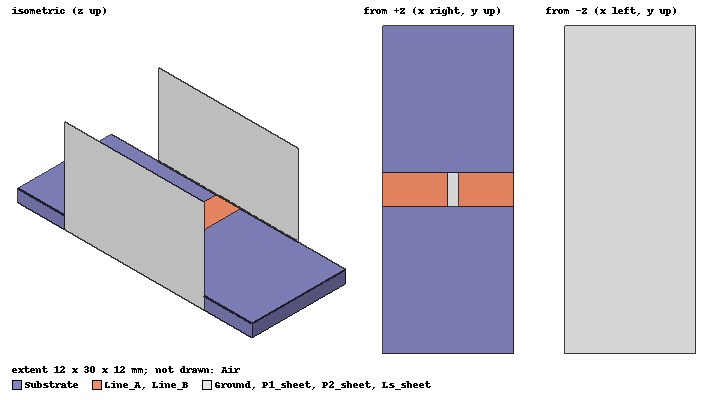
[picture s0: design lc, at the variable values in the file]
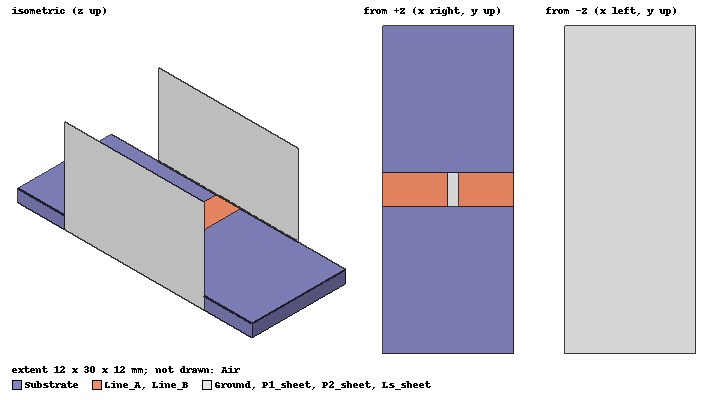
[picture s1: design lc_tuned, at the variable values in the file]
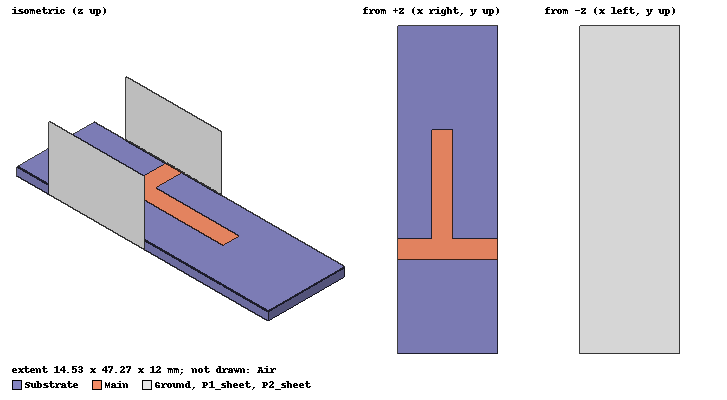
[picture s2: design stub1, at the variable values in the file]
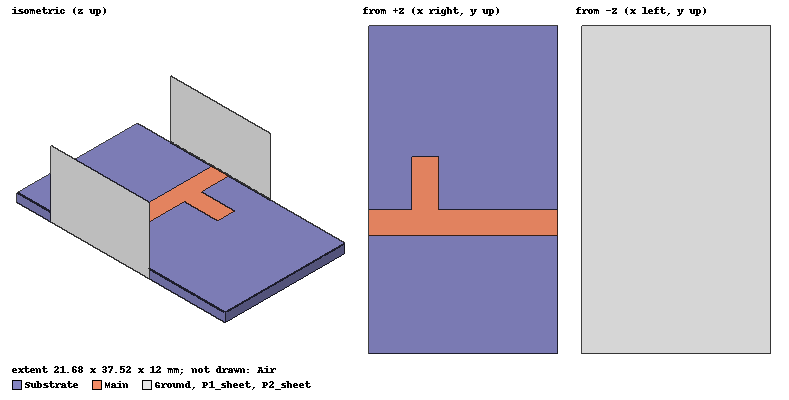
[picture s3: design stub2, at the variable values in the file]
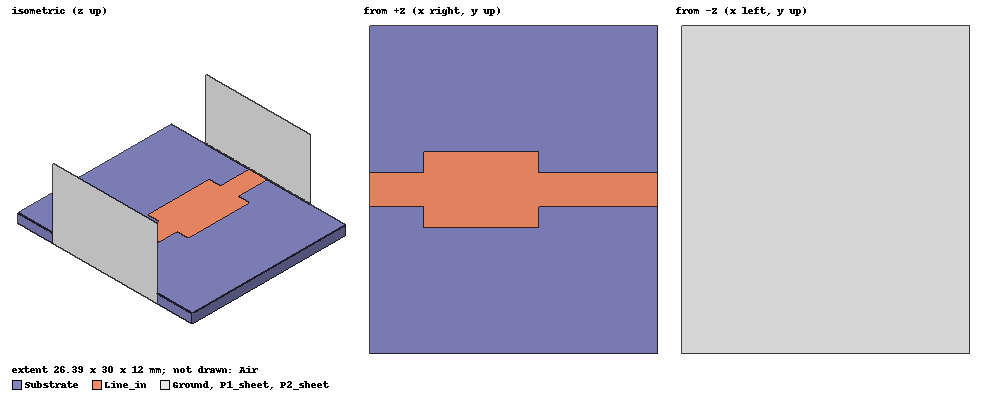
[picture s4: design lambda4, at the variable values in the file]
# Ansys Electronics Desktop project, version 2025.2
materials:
  vacuum: permittivity=1
  FR4_epoxy_44: permittivity=4.4 permeability=1 dielectric_loss_tangent=0.02
  copper: permeability=0.999991 conductivity=58000000

design lc (HFSS, HFSS Modal Network, model units mm)
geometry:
  Substrate [FR4_epoxy_44] = box(corner=(0mm, -15mm, 0mm), size=(12mm, 30mm, 1.6mm))
  Air [vacuum] = box(corner=(0mm, -15mm, 0mm), size=(12mm, 30mm, 16.6mm))
  Line_A [copper] = box(corner=(0mm, -1.5415mm, 1.6mm), size=(6mm, 3.083mm, 0.035mm))
  Line_B [copper] = box(corner=(7mm, -1.5415mm, 1.6mm), size=(5mm, 3.083mm, 0.035mm))
  Ground = rectangle(corner=(0mm, -15mm, 0mm), x_size=12mm, y_size=30mm)
  Ls_sheet = rectangle(corner=(6mm, -1.5415mm, 1.6175mm), x_size=1mm, y_size=3.083mm)
  Cp_sheet = rectangle(corner=(5mm, -0.5mm, 0mm), y_size=1mm, z_size=1.6mm)
  P1_sheet = rectangle(corner=(0mm, -9mm, 0mm), y_size=18mm, z_size=12mm)
  P2_sheet = rectangle(corner=(12mm, -9mm, 0mm), y_size=18mm, z_size=12mm)
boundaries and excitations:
  PEC_ground: Perfect E Objects=Ground
  Ls: Lumped RLC Objects=Ls_sheet CurrentLine{(6, 0, 1.6175) -> (7, 0, 1.6175)} RLC_Type=Parallel Inductance=2.933nH
  Cp: Lumped RLC Objects=Cp_sheet CurrentLine{(5, 0, 0) -> (5, 0, 1.6)} RLC_Type=Parallel Capacitance=0.743pF
  Rad: Radiation Faces=Air.face(+z, -y, +y)
  P1: Wave Port Objects=P1_sheet WavePortType=Modal NumModes=1 DeembedDist=5mm Modes{Mode1{IntLine{(0, 0, 0) -> (0, 0, 1.6)} CharImp=Zpi RenormImp=50ohm}}
  P2: Wave Port Objects=P2_sheet WavePortType=Modal NumModes=1 DeembedDist=5mm Modes{Mode1{IntLine{(12, 0, 0) -> (12, 0, 1.6)} CharImp=Zpi RenormImp="30ohm - 40i ohm"}}
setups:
  Setup1: HfssDriven Frequency=3.5GHz MaxDeltaS=0.01 MaximumPasses=15 MinimumPasses=1 MinimumConvergedPasses=2 PercentRefinement=30 BasisOrder=1 PortAccuracy=2 DrivenSolverType="Direct Solver"
    sweep Sweep1: 2GHz to 5GHz, 301 points; Type=Interpolating InterpTolerance=0.5 InterpMaxSolns=250 InterpUsePortImped=false PassivityErrorTolerance=0.0001
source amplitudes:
  P1:1: 1W 0deg
  P2:1: 0W 0deg
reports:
  S_dB_lc: dB(S(1,1)), dB(S(2,1)), dB(S(2,2)) vs Freq on Setup1 : Sweep1
  S11_Smith_lc: S(1,1) on Setup1 : Sweep1 [Freq=all]

design lc_tuned (HFSS, HFSS Modal Network, model units mm)
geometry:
  Substrate [FR4_epoxy_44] = box(corner=(0mm, -15mm, 0mm), size=(12mm, 30mm, 1.6mm))
  Air [vacuum] = box(corner=(0mm, -15mm, 0mm), size=(12mm, 30mm, 16.6mm))
  Line_A [copper] = box(corner=(0mm, -1.5415mm, 1.6mm), size=(6mm, 3.083mm, 0.035mm))
  Line_B [copper] = box(corner=(7mm, -1.5415mm, 1.6mm), size=(5mm, 3.083mm, 0.035mm))
  Ground = rectangle(corner=(0mm, -15mm, 0mm), x_size=12mm, y_size=30mm)
  Ls_sheet = rectangle(corner=(6mm, -1.5415mm, 1.6175mm), x_size=1mm, y_size=3.083mm)
  Cp_sheet = rectangle(corner=(5mm, -0.5mm, 0mm), y_size=1mm, z_size=1.6mm)
  P1_sheet = rectangle(corner=(0mm, -9mm, 0mm), y_size=18mm, z_size=12mm)
  P2_sheet = rectangle(corner=(12mm, -9mm, 0mm), y_size=18mm, z_size=12mm)
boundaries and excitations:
  PEC_ground: Perfect E Objects=Ground
  Ls: Lumped RLC Objects=Ls_sheet CurrentLine{(6, 0, 1.6175) -> (7, 0, 1.6175)} RLC_Type=Parallel Inductance=2.115nH
  Cp: Lumped RLC Objects=Cp_sheet CurrentLine{(5, 0, 0) -> (5, 0, 1.6)} RLC_Type=Parallel Capacitance=0.581pF
  Rad: Radiation Faces=Air.face(+z, -y, +y)
  P1: Wave Port Objects=P1_sheet WavePortType=Modal NumModes=1 DeembedDist=5mm Modes{Mode1{IntLine{(0, 0, 0) -> (0, 0, 1.6)} CharImp=Zpi RenormImp=50ohm}}
  P2: Wave Port Objects=P2_sheet WavePortType=Modal NumModes=1 DeembedDist=5mm Modes{Mode1{IntLine{(12, 0, 0) -> (12, 0, 1.6)} CharImp=Zpi RenormImp="30ohm - 40i ohm"}}
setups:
  Setup1: HfssDriven Frequency=3.5GHz MaxDeltaS=0.01 MaximumPasses=15 MinimumPasses=1 MinimumConvergedPasses=2 PercentRefinement=30 BasisOrder=1 PortAccuracy=2 DrivenSolverType="Direct Solver"
    sweep Sweep1: 2GHz to 5GHz, 301 points; Type=Interpolating InterpTolerance=0.5 InterpMaxSolns=250 InterpUsePortImped=false PassivityErrorTolerance=0.0001
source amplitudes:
  P1:1: 1W 0deg
  P2:1: 0W 0deg
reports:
  S_dB_lc_tuned: dB(S(1,1)), dB(S(2,1)), dB(S(2,2)) vs Freq on Setup1 : Sweep1
  S11_Smith_lc_tuned: S(1,1) on Setup1 : Sweep1 [Freq=all]

design stub1 (HFSS, HFSS Modal Network, model units mm)
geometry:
  Substrate [FR4_epoxy_44] = box(corner=(0mm, -15mm, 0mm), size=(14.534mm, 47.267mm, 1.6mm))
  Air [vacuum] = box(corner=(0mm, -15mm, 0mm), size=(14.534mm, 47.267mm, 16.6mm))
  Main [copper] = box(corner=(0mm, -1.517mm, 1.6mm), size=(14.534mm, 3.034mm, 0.035mm))
  Stub_open = box(corner=(5mm, 1.517mm, 1.6mm), size=(3.034mm, 15.75mm, 0.035mm))
  Main.unite(Stub_open)
  Ground = rectangle(corner=(0mm, -15mm, 0mm), x_size=14.534mm, y_size=47.267mm)
  P1_sheet = rectangle(corner=(0mm, -9mm, 0mm), y_size=18mm, z_size=12mm)
  P2_sheet = rectangle(corner=(14.534mm, -9mm, 0mm), y_size=18mm, z_size=12mm)
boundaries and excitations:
  PEC_ground: Perfect E Objects=Ground
  Rad: Radiation Faces=Air.face(+z, -y, +y)
  P1: Wave Port Objects=P1_sheet WavePortType=Modal NumModes=1 DeembedDist=5mm Modes{Mode1{IntLine{(0, 0, 0) -> (0, 0, 1.6)} CharImp=Zpi RenormImp=50ohm}}
  P2: Wave Port Objects=P2_sheet WavePortType=Modal NumModes=1 DeembedDist=5mm Modes{Mode1{IntLine{(14.534, 0, 0) -> (14.534, 0, 1.6)} CharImp=Zpi RenormImp="30ohm - 40i ohm"}}
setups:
  Setup1: HfssDriven Frequency=3.5GHz MaxDeltaS=0.01 MaximumPasses=15 MinimumPasses=1 MinimumConvergedPasses=2 PercentRefinement=30 BasisOrder=1 PortAccuracy=2 DrivenSolverType="Direct Solver"
    sweep Sweep1: 2GHz to 5GHz, 301 points; Type=Interpolating InterpTolerance=0.5 InterpMaxSolns=250 InterpUsePortImped=false PassivityErrorTolerance=0.0001
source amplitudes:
  P1:1: 1W 0deg
  P2:1: 0W 0deg
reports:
  S_dB_stub1: dB(S(1,1)), dB(S(2,1)), dB(S(2,2)) vs Freq on Setup1 : Sweep1
  S11_Smith_stub1: S(1,1) on Setup1 : Sweep1 [Freq=all]

design stub2 (HFSS, HFSS Modal Network, model units mm)
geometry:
  Substrate [FR4_epoxy_44] = box(corner=(0mm, -15mm, 0mm), size=(21.684mm, 37.517mm, 1.6mm))
  Air [vacuum] = box(corner=(0mm, -15mm, 0mm), size=(21.684mm, 37.517mm, 16.6mm))
  Main [copper] = box(corner=(0mm, -1.517mm, 1.6mm), size=(21.684mm, 3.034mm, 0.035mm))
  Stub_open = box(corner=(5mm, 1.517mm, 1.6mm), size=(3.034mm, 6mm, 0.035mm))
  Main.unite(Stub_open)
  Ground = rectangle(corner=(0mm, -15mm, 0mm), x_size=21.684mm, y_size=37.517mm)
  P1_sheet = rectangle(corner=(0mm, -9mm, 0mm), y_size=18mm, z_size=12mm)
  P2_sheet = rectangle(corner=(21.684mm, -9mm, 0mm), y_size=18mm, z_size=12mm)
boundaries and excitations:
  PEC_ground: Perfect E Objects=Ground
  Rad: Radiation Faces=Air.face(+z, -y, +y)
  P1: Wave Port Objects=P1_sheet WavePortType=Modal NumModes=1 DeembedDist=5mm Modes{Mode1{IntLine{(0, 0, 0) -> (0, 0, 1.6)} CharImp=Zpi RenormImp=50ohm}}
  P2: Wave Port Objects=P2_sheet WavePortType=Modal NumModes=1 DeembedDist=5mm Modes{Mode1{IntLine{(21.684, 0, 0) -> (21.684, 0, 1.6)} CharImp=Zpi RenormImp="30ohm - 40i ohm"}}
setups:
  Setup1: HfssDriven Frequency=3.5GHz MaxDeltaS=0.01 MaximumPasses=15 MinimumPasses=1 MinimumConvergedPasses=2 PercentRefinement=30 BasisOrder=1 PortAccuracy=2 DrivenSolverType="Direct Solver"
    sweep Sweep1: 2GHz to 5GHz, 301 points; Type=Interpolating InterpTolerance=0.5 InterpMaxSolns=250 InterpUsePortImped=false PassivityErrorTolerance=0.0001
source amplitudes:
  P1:1: 1W 0deg
  P2:1: 0W 0deg
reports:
  S_dB_stub2: dB(S(1,1)), dB(S(2,1)), dB(S(2,2)) vs Freq on Setup1 : Sweep1
  S11_Smith_stub2: S(1,1) on Setup1 : Sweep1 [Freq=all]

design lambda4 (HFSS, HFSS Modal Network, model units mm)
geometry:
  Substrate [FR4_epoxy_44] = box(corner=(0mm, -15mm, 0mm), size=(26.385mm, 30mm, 1.6mm))
  Air [vacuum] = box(corner=(0mm, -15mm, 0mm), size=(26.385mm, 30mm, 16.6mm))
  Line_in [copper] = box(corner=(0mm, -1.5415mm, 1.6mm), size=(5mm, 3.083mm, 0.035mm))
  Trans_Lt = box(corner=(5mm, -3.4735mm, 1.6mm), size=(10.52mm, 6.947mm, 0.035mm))
  Buffer_L50 = box(corner=(15.52mm, -1.5415mm, 1.6mm), size=(10.865mm, 3.083mm, 0.035mm))
  Line_in.unite(Trans_Lt, Buffer_L50)
  Ground = rectangle(corner=(0mm, -15mm, 0mm), x_size=26.385mm, y_size=30mm)
  P1_sheet = rectangle(corner=(0mm, -9mm, 0mm), y_size=18mm, z_size=12mm)
  P2_sheet = rectangle(corner=(26.385mm, -9mm, 0mm), y_size=18mm, z_size=12mm)
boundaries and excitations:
  PEC_ground: Perfect E Objects=Ground
  Rad: Radiation Faces=Air.face(+z, -y, +y)
  P1: Wave Port Objects=P1_sheet WavePortType=Modal NumModes=1 DeembedDist=5mm Modes{Mode1{IntLine{(0, 0, 0) -> (0, 0, 1.6)} CharImp=Zpi RenormImp=50ohm}}
  P2: Wave Port Objects=P2_sheet WavePortType=Modal NumModes=1 DeembedDist=5mm Modes{Mode1{IntLine{(26.385, 0, 0) -> (26.385, 0, 1.6)} CharImp=Zpi RenormImp="30ohm - 40i ohm"}}
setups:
  Setup1: HfssDriven Frequency=3.5GHz MaxDeltaS=0.01 MaximumPasses=15 MinimumPasses=1 MinimumConvergedPasses=2 PercentRefinement=30 BasisOrder=1 PortAccuracy=2 DrivenSolverType="Direct Solver"
    sweep Sweep1: 2GHz to 5GHz, 301 points; Type=Interpolating InterpTolerance=0.5 InterpMaxSolns=250 InterpUsePortImped=false PassivityErrorTolerance=0.0001
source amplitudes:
  P1:1: 1W 0deg
  P2:1: 0W 0deg
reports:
  S_dB_lambda4: dB(S(1,1)), dB(S(2,1)), dB(S(2,2)) vs Freq on Setup1 : Sweep1
  S11_Smith_lambda4: S(1,1) on Setup1 : Sweep1 [Freq=all]
